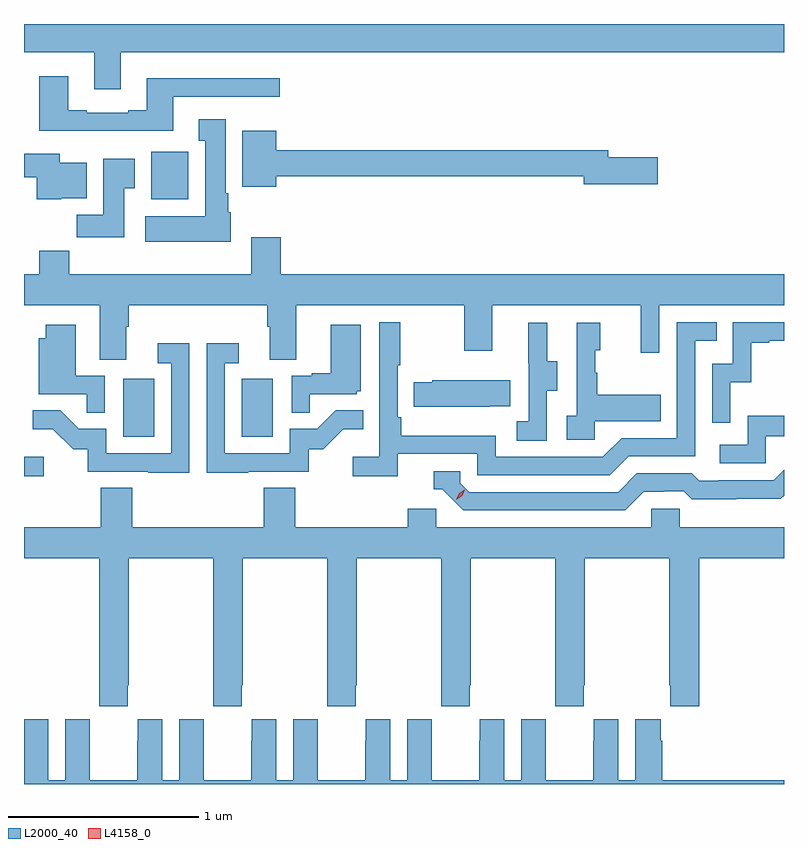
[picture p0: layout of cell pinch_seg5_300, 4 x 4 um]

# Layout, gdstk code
import gdstk
lib = gdstk.Library(unit=1e-6, precision=1e-09)
def R(c, l, rs):  # rectangles x0, y0, x1, y1
    for r in rs: c.add(gdstk.rectangle(r[:2], r[2:], *l))
def P(c, l, *ps):  # polygons
    for p in ps: c.add(gdstk.Polygon(p, *l))
L2000_40 = (2000, 40)
L4158_0 = (4158, 0)

pinch_seg5_300 = lib.new_cell('pinch_seg5_300')
R(pinch_seg5_300, L2000_40, [(899.66,882.502,899.764,882.604), (900.182,882.708,900.346,883.015), (900.806,882.708,900.97,883.015), (900.329,883.958,900.525,884.209)])
P(pinch_seg5_300, L2000_40, [(900.169,884.732),(903.66,884.732),(903.66,884.881),(899.66,884.881),(899.66,884.732),(900.029,884.732),(900.029,884.538),(900.169,884.538)],
  [(900.445,884.499),(901.006,884.499),(901.006,884.596),(900.305,884.596),(900.305,884.428),(900.209,884.428),(900.209,884.415),(899.989,884.415),(899.989,884.428),(899.893,884.428),(899.893,884.605),(899.741,884.605),(899.741,884.318),(900.445,884.318)],
  [(900.748,883.89),(900.736,883.89),(900.736,883.99),(900.721,883.99),(900.721,884.38),(900.581,884.38),(900.581,884.267),(900.614,884.267),(900.614,883.87),(900.297,883.87),(900.297,883.736),(900.748,883.736)],
  [(900.988,884.08),(902.606,884.08),(902.606,884.038),(902.995,884.038),(902.995,884.18),(902.734,884.18),(902.734,884.216),(900.988,884.216),(900.988,884.32),(900.809,884.32),(900.809,884.024),(900.988,884.024)],
  [(899.856,883.964),(899.989,883.964),(899.989,884.152),(899.848,884.152),(899.848,884.197),(899.66,884.197),(899.66,884.075),(899.726,884.075),(899.726,883.958),(899.856,883.958)],
  [(900.187,884.017),(900.244,884.017),(900.244,884.173),(900.077,884.173),(900.077,883.876),(899.938,883.876),(899.938,883.758),(900.187,883.758)],
  [(900.199,883.288),(900.212,883.288),(900.212,883.4),(900.941,883.4),(900.941,883.288),(900.953,883.288),(900.953,883.114),(901.093,883.114),(901.093,883.4),(901.978,883.4),(901.978,883.161),(902.125,883.161),(902.125,883.4),(902.906,883.4),(902.906,883.152),(903.003,883.152),(903.003,883.4),(903.66,883.4),(903.66,883.564),(901.01,883.564),(901.01,883.759),(900.857,883.759),(900.857,883.564),(899.897,883.564),(899.897,883.688),(899.741,883.688),(899.741,883.564),(899.66,883.564),(899.66,883.4),(900.059,883.4),(900.059,883.114),(900.199,883.114)],
  [(901.628,882.618),(902.046,882.618),(902.046,882.507),(902.743,882.507),(902.842,882.606),(903.192,882.606),(903.192,883.215),(903.305,883.215),(903.305,883.311),(903.096,883.311),(903.096,882.702),(902.805,882.702),(902.706,882.603),(902.142,882.603),(902.142,882.715),(901.646,882.715),(901.646,882.811),(901.626,882.811),(901.626,883.084),(901.639,883.084),(901.639,883.312),(901.53,883.312),(901.53,882.604),(901.389,882.604),(901.389,882.502),(901.628,882.502)],
  [(903.378,882.995),(903.488,882.995),(903.488,883.203),(903.583,883.203),(903.583,883.215),(903.66,883.215),(903.66,883.311),(903.39,883.311),(903.39,883.092),(903.282,883.092),(903.282,882.783),(903.378,882.783)],
  [(902.664,882.791),(903.011,882.791),(903.011,882.931),(902.677,882.931),(902.677,883.046),(902.667,883.046),(902.667,883.164),(902.692,883.164),(902.692,883.309),(902.568,883.309),(902.568,882.818),(902.517,882.818),(902.517,882.693),(902.664,882.693)],
  [(902.412,882.952),(902.467,882.952),(902.467,883.107),(902.413,883.107),(902.413,883.309),(902.315,883.309),(902.315,883.095),(902.316,883.095),(902.316,882.791),(902.253,882.791),(902.253,882.688),(902.412,882.688)],
  [(901.163,882.933),(901.41,882.933),(901.41,882.948),(901.432,882.948),(901.432,883.297),(901.274,883.297),(901.274,883.042),(901.175,883.042),(901.175,883.029),(901.068,883.029),(901.068,882.835),(901.163,882.835)],
  [(900.084,883.029),(899.932,883.029),(899.932,883.297),(899.774,883.297),(899.774,883.228),(899.738,883.228),(899.738,882.933),(899.989,882.933),(899.989,882.835),(900.084,882.835)],
  [(900.531,883.201),(900.363,883.201),(900.363,883.095),(900.435,883.095),(900.435,882.621),(900.093,882.621),(900.093,882.75),(899.948,882.75),(899.851,882.847),(899.707,882.847),(899.707,882.749),(899.811,882.749),(899.918,882.642),(899.995,882.642),(899.995,882.525),(900.313,882.525),(900.313,882.52),(900.531,882.52)],
  [(900.839,882.525),(901.158,882.525),(901.158,882.642),(901.234,882.642),(901.341,882.749),(901.445,882.749),(901.445,882.848),(901.301,882.848),(901.203,882.75),(901.059,882.75),(901.059,882.621),(900.717,882.621),(900.717,883.095),(900.79,883.095),(900.79,883.201),(900.621,883.201),(900.621,882.52),(900.839,882.52)],
  [(902.111,882.869),(902.219,882.869),(902.219,883.006),(901.809,883.006),(901.809,882.996),(901.711,882.996),(901.711,882.866),(902.111,882.866)],
  [(903.564,882.711),(903.66,882.711),(903.66,882.82),(903.468,882.82),(903.468,882.666),(903.321,882.666),(903.321,882.57),(903.564,882.57)],
  [(902.923,882.42),(903.03,882.42),(903.03,882.423),(903.133,882.423),(903.175,882.381),(903.408,882.381),(903.408,882.383),(903.644,882.383),(903.66,882.399),(903.66,882.534),(903.606,882.48),(903.313,882.48),(903.313,882.477),(903.214,882.477),(903.175,882.516),(902.886,882.516),(902.787,882.417),(902.004,882.417),(901.956,882.465),(901.956,882.528),(901.817,882.528),(901.817,882.432),(901.86,882.432),(901.971,882.321),(902.824,882.321)],
  [(900.207,881.401),(900.21,881.401),(900.21,882.068),(900.655,882.068),(900.655,881.401),(900.657,881.401),(900.657,881.289),(900.807,881.289),(900.807,881.401),(900.81,881.401),(900.81,882.068),(901.255,882.068),(901.255,881.401),(901.257,881.401),(901.257,881.289),(901.407,881.289),(901.407,881.401),(901.41,881.401),(901.41,882.068),(901.855,882.068),(901.855,881.401),(901.857,881.401),(901.857,881.289),(902.007,881.289),(902.007,881.401),(902.01,881.401),(902.01,882.068),(902.455,882.068),(902.455,881.401),(902.457,881.401),(902.457,881.289),(902.607,881.289),(902.607,881.401),(902.61,881.401),(902.61,882.068),(903.055,882.068),(903.055,881.401),(903.061,881.401),(903.061,881.289),(903.215,881.289),(903.215,882.068),(903.66,882.068),(903.66,882.232),(903.111,882.232),(903.111,882.33),(902.961,882.33),(902.961,882.232),(901.83,882.232),(901.83,882.33),(901.679,882.33),(901.679,882.232),(901.088,882.232),(901.088,882.44),(900.923,882.44),(900.923,882.232),(900.23,882.232),(900.23,882.44),(900.065,882.44),(900.065,882.232),(899.66,882.232),(899.66,882.068),(900.055,882.068),(900.055,881.401),(900.057,881.401),(900.057,881.289),(900.207,881.289)],
  [(903.66,880.9),(903.02,880.9),(903.02,881.108),(903.01,881.108),(903.01,881.221),(902.876,881.221),(902.876,880.9),(902.788,880.9),(902.788,881.221),(902.658,881.221),(902.658,881.108),(902.657,881.108),(902.657,880.9),(902.407,880.9),(902.407,881.108),(902.406,881.108),(902.406,881.221),(902.276,881.221),(902.276,880.9),(902.188,880.9),(902.188,881.221),(902.058,881.221),(902.058,881.108),(902.057,881.108),(902.057,880.9),(901.807,880.9),(901.807,881.108),(901.806,881.108),(901.806,881.221),(901.676,881.221),(901.676,880.9),(901.588,880.9),(901.588,881.221),(901.458,881.221),(901.458,881.108),(901.457,881.108),(901.457,880.9),(901.207,880.9),(901.207,881.108),(901.206,881.108),(901.206,881.221),(901.076,881.221),(901.076,880.9),(900.988,880.9),(900.988,881.221),(900.858,881.221),(900.858,881.108),(900.857,881.108),(900.857,880.9),(900.607,880.9),(900.607,881.108),(900.606,881.108),(900.606,881.221),(900.476,881.221),(900.476,880.9),(900.388,880.9),(900.388,881.221),(900.258,881.221),(900.258,881.108),(900.257,881.108),(900.257,880.9),(900.007,880.9),(900.007,881.108),(900.006,881.108),(900.006,881.221),(899.876,881.221),(899.876,880.9),(899.788,880.9),(899.788,881.221),(899.66,881.221),(899.66,880.881),(903.66,880.881)])
P(pinch_seg5_300, L4158_0, [(901.935,882.377),(901.935,882.378),(901.951,882.41),(901.981,882.429),(901.981,882.429),(901.981,882.429),(901.966,882.397),(901.935,882.377)])

lib.write_gds('pinch_seg5_300.gds')
